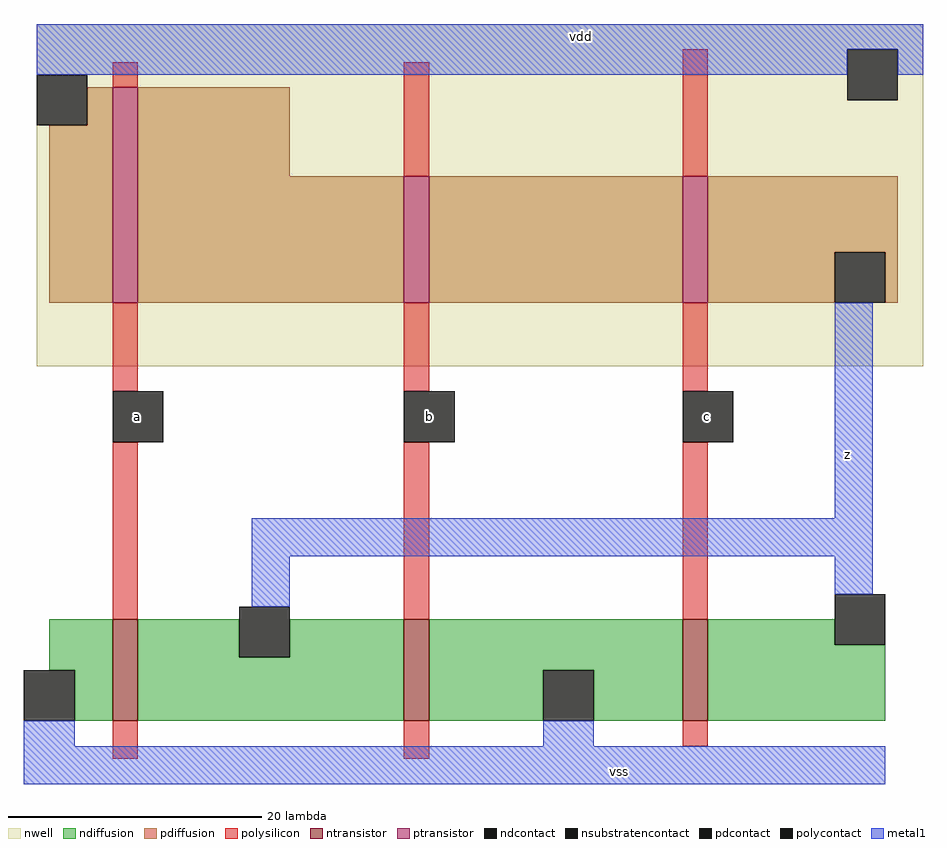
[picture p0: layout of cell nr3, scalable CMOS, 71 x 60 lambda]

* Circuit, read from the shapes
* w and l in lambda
.subckt nr3 a b c vdd vss z
M1 z a vss VSUBS nfet w=8 l=2
M2 vss b z VSUBS nfet w=8 l=2
M3 z c vss VSUBS nfet w=8 l=2
M4 n1 a vdd vdd pfet w=17 l=2
M5 n2 b n1 vdd pfet w=10 l=2
M6 z c n2 vdd pfet w=10 l=2
.ends

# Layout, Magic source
magic
tech scmos
<< nwell >>
rect -21 -1 49 26
<< polysilicon >>
rect -15 21 -13 23
rect 8 14 10 23
rect 30 14 32 24
rect -15 -3 -13 4
rect 8 -3 10 4
rect 30 -3 32 4
rect -15 -21 -13 -7
rect 8 -21 10 -7
rect 30 -21 32 -7
rect -15 -32 -13 -29
rect 8 -32 10 -29
rect 30 -31 32 -29
<< ndiffusion >>
rect -20 -25 -15 -21
rect -18 -29 -15 -25
rect -13 -24 -5 -21
rect -1 -24 8 -21
rect -13 -29 8 -24
rect 10 -25 30 -21
rect 10 -29 19 -25
rect 23 -29 30 -25
rect 32 -23 42 -21
rect 32 -29 46 -23
<< pdiffusion >>
rect -17 18 -15 21
rect -20 4 -15 18
rect -13 14 -1 21
rect -13 4 8 14
rect 10 4 30 14
rect 32 8 47 14
rect 32 4 42 8
rect 46 4 47 8
<< metal1 >>
rect -21 24 49 26
rect -21 22 43 24
rect 47 22 49 24
rect 42 -13 45 4
rect -4 -16 45 -13
rect -4 -20 -1 -16
rect 42 -19 45 -16
rect -22 -31 -18 -29
rect 19 -31 23 -29
rect -22 -34 46 -31
<< ntransistor >>
rect -15 -29 -13 -21
rect 8 -29 10 -21
rect 30 -29 32 -21
<< ptransistor >>
rect -15 4 -13 21
rect 8 4 10 14
rect 30 4 32 14
<< polycontact >>
rect -15 -7 -11 -3
rect 8 -7 12 -3
rect 30 -7 34 -3
<< ndcontact >>
rect -22 -29 -18 -25
rect -5 -24 -1 -20
rect 19 -29 23 -25
rect 42 -23 46 -19
<< pdcontact >>
rect -21 18 -17 22
rect 42 4 46 8
<< nsubstratencontact >>
rect 43 20 47 24
<< labels >>
rlabel polycontact -13 -5 -13 -5 1 a
rlabel polycontact 10 -5 10 -5 1 b
rlabel polycontact 32 -5 32 -5 1 c
rlabel metal1 43 -8 43 -8 1 z
rlabel metal1 22 25 22 25 5 vdd
rlabel metal1 25 -33 25 -33 1 vss
<< end >>
